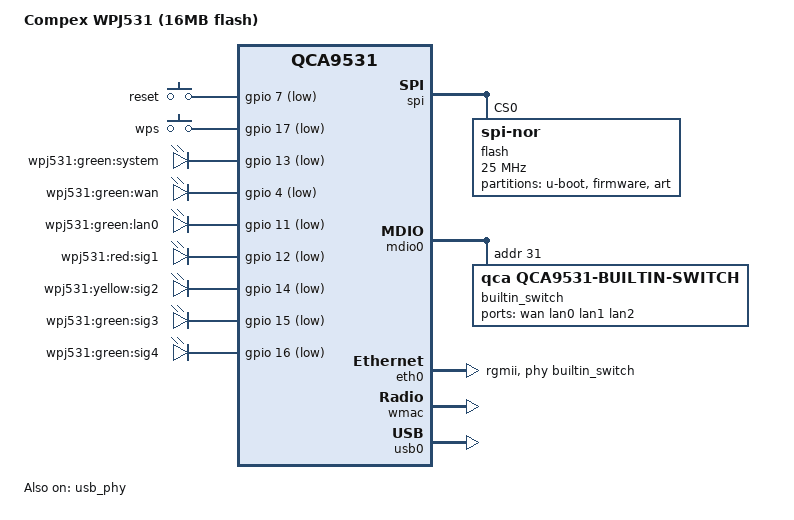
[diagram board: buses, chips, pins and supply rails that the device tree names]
// SPDX-License-Identifier: GPL-2.0-or-later OR MIT

#include "qca953x.dtsi"

#include <dt-bindings/gpio/gpio.h>
#include <dt-bindings/input/input.h>

/ {
	compatible = "compex,wpj531-16m", "qca,qca9531";
	model = "Compex WPJ531 (16MB flash)";

	aliases {
		label-mac-device = &eth0;
		led-boot = &led_system;
		led-failsafe = &led_system;
		led-running = &led_system;
		led-upgrade = &led_system;
	};

	keys {
		compatible = "gpio-keys";

		reset {
			label = "reset";
			linux,code = <KEY_RESTART>;
			gpios = <&gpio 7 GPIO_ACTIVE_LOW>;
			debounce-interval = <60>;
		};

		wps {
			label = "wps";
			linux,code = <KEY_WPS_BUTTON>;
			gpios = <&gpio 17 GPIO_ACTIVE_LOW>;
			debounce-interval = <60>;
		};
	};

	leds {
		compatible = "gpio-leds";

		led_system: system {
			label = "wpj531:green:system";
			gpios = <&gpio 13 GPIO_ACTIVE_LOW>;
		};

		wan {
			label = "wpj531:green:wan";
			gpios = <&gpio 4 GPIO_ACTIVE_LOW>;
		};

		lan0 {
			label = "wpj531:green:lan0";
			gpios = <&gpio 11 GPIO_ACTIVE_LOW>;
		};

		sig1 {
			label = "wpj531:red:sig1";
			gpios = <&gpio 12 GPIO_ACTIVE_LOW>;
		};

		sig2 {
			label = "wpj531:yellow:sig2";
			gpios = <&gpio 14 GPIO_ACTIVE_LOW>;
		};

		sig3 {
			label = "wpj531:green:sig3";
			gpios = <&gpio 15 GPIO_ACTIVE_LOW>;
		};

		sig4 {
			label = "wpj531:green:sig4";
			gpios = <&gpio 16 GPIO_ACTIVE_LOW>;
		};
	};
};

&spi {
	status = "okay";

	flash@0 {
		compatible = "jedec,spi-nor";
		reg = <0>;
		spi-max-frequency = <25000000>;

		partitions {
			compatible = "fixed-partitions";
			#address-cells = <1>;
			#size-cells = <1>;

			uboot: partition@0 {
				label = "u-boot";
				reg = <0x000000 0x030000>;
				read-only;
			};

			partition@30000 {
				label = "firmware";
				reg = <0x030000 0xfc0000>;
				compatible = "denx,uimage";
			};

			art: partition@ff0000 {
				label = "art";
				reg = <0xff0000 0x010000>;
				read-only;
			};
		};
	};
};

&mdio0 {
	status = "okay";

	builtin_switch: switch@1f {
		compatible = "qca,qca9531-builtin-switch";
		reg = <0x1f>;

		#address-cells = <1>;
		#size-cells = <0>;

		wan_port: port@4 {
			reg = <4>;
			label = "wan";
		};

		lan0_port: port@1 {
			reg = <1>;
			label = "lan0";
		};

		lan1_port: port@2 {
			reg = <2>;
			label = "lan1";
		};

		lan2_port: port@3 {
			reg = <3>;
			label = "lan2";
		};
	};
};

&eth0 {
	status = "okay";
	phy-mode = "rgmii";
	phy-handle = <&builtin_switch>;
};

&eth1 {
	status = "disabled";
};

&wmac {
	status = "okay";
	mtd-cal-data = <&art 0x1000>;
};

&usb_phy {
	status = "okay";
};

&usb0 {
	status = "okay";
};
